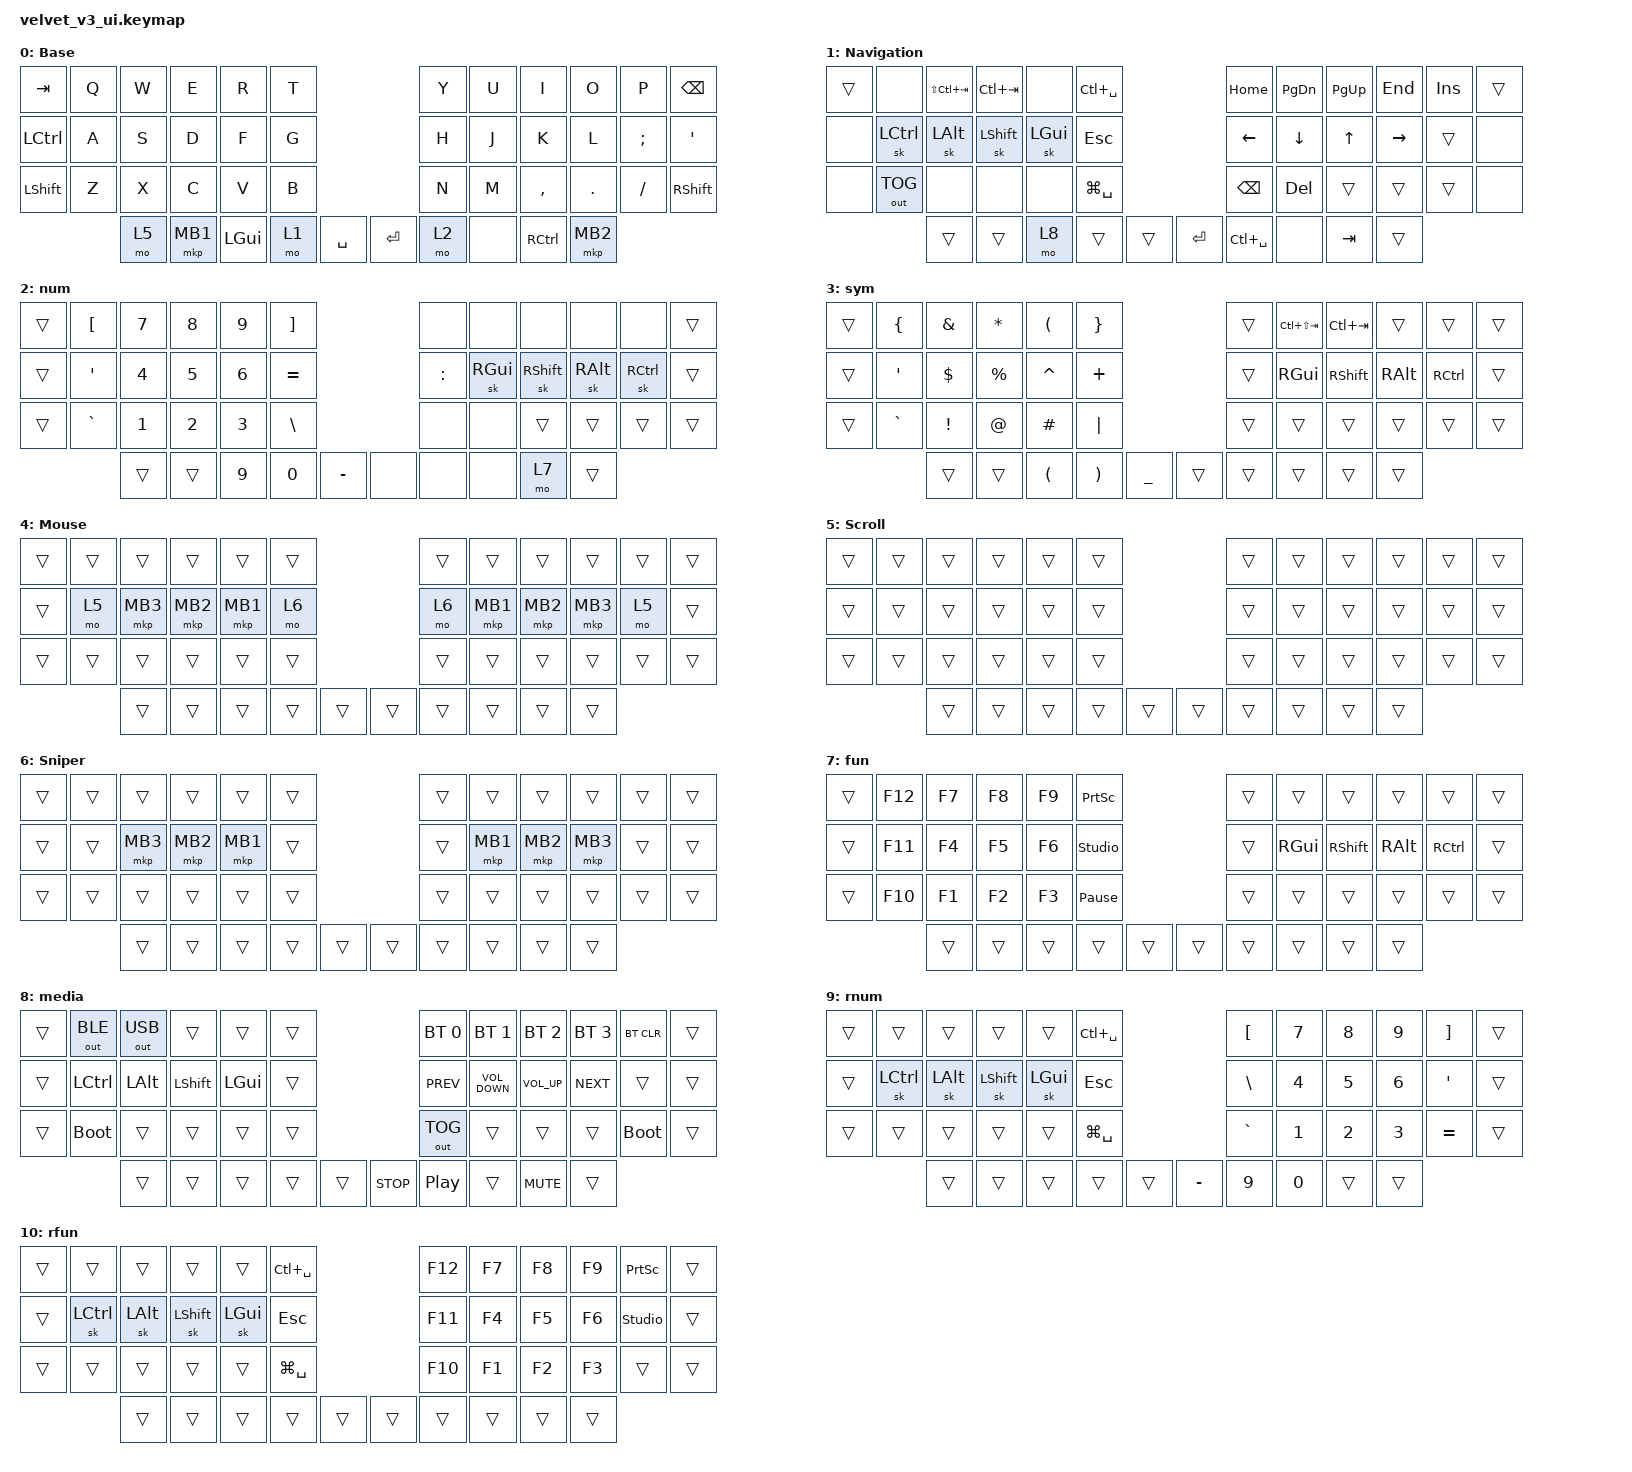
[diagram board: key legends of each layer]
#include "keys_ru.h"
#include <dt-bindings/zmk/input_transform.h>
#include <input/processors.dtsi>
#include <zephyr/dt-bindings/input/input-event-codes.h>
#include <behaviors.dtsi>
#include <dt-bindings/zmk/bt.h>
#include <dt-bindings/zmk/keys.h>
#include <dt-bindings/zmk/outputs.h>
#include <dt-bindings/zmk/pointing.h>

&lt {
    tapping-term-ms = <300>;
    flavor = "hold-preferred";
};

/ {
    behaviors {
        cap_sen: cap_sen {
            compatible = "zmk,behavior-hold-tap";
            label = "CAP_SEN";
            bindings = <&mo>, <&mkp>;

            #binding-cells = <2>;
            tapping-term-ms = <150>;
            hold-while-undecided;
        };

        ms_t: ms_t {
            compatible = "zmk,behavior-hold-tap";
            label = "Layer click";
            bindings = <&mo>, <&mkp>;

            #binding-cells = <2>;
            tapping-term-ms = <200>;
            flavor = "hold-preferred";
        };

        hml: hml {
            compatible = "zmk,behavior-hold-tap";
            label = "HML";
            bindings = <&kp>, <&kp>;

            #binding-cells = <2>;
            tapping-term-ms = <300>;
            quick-tap-ms = <175>;
            require-prior-idle-ms = <150>;
            flavor = "balanced";
            hold-trigger-on-release;
            hold-trigger-key-positions = <6 7 8 9 10 11 18 19 20 21 22 23 30 31 32 33 34 35 41 42 43 44 45>;
        };

        hmr: hmr {
            compatible = "zmk,behavior-hold-tap";
            label = "HMR";
            bindings = <&kp>, <&kp>;

            #binding-cells = <2>;
            tapping-term-ms = <300>;
            quick-tap-ms = <175>;
            require-prior-idle-ms = <150>;
            flavor = "balanced";
            hold-trigger-on-release;
            hold-trigger-key-positions = <0 1 2 3 4 5 12 13 14 15 16 17 24 25 26 27 28 29 36 37 38 39 40>;
        };
    };

    combos { compatible = "zmk,combos"; };

    macros {
        exit: exit {
            compatible = "zmk,behavior-macro";
            #binding-cells = <0>;
            bindings = <&kp K &kp I &kp L &kp L &kp SPACE &kp MINUS &kp N9 &kp SPACE &kp DLLR &kp DLLR>;
            label = "EXIT";
        };
    };

    keymap {
        compatible = "zmk,keymap";

        base {
            bindings = <
&kp TAB    &kp Q  &kp W  &kp E     &kp R     &kp T                          &kp Y  &kp U  &kp I      &kp O     &kp P     &kp BSPC
&kp LCTRL  &kp A  &kp S  &kp D     &kp F     &kp G                          &kp H  &kp J  &kp K      &kp L     &kp SEMI  &kp SQT
&kp LSHFT  &kp Z  &kp X  &kp C     &kp V     &kp B                          &kp N  &kp M  &kp COMMA  &kp DOT   &kp FSLH  &kp RSHFT
                  &mo 5  &mkp MB1  &kp LGUI  &mo 1  &kp SPACE    &kp ENTER  &mo 2  &none  &kp RCTRL  &mkp MB2
            >;

            display-name = "Base";
        };

        nav {
            bindings = <
&trans  &none         &kp LS(LC(TAB))  &kp LC(TAB)  &none     &kp LC(SPACE)                       &kp HOME       &kp PG_DN       &kp PG_UP  &kp END    &kp INS  &trans
&none   &sk LCTRL     &sk LALT         &sk LSHFT    &sk LGUI  &kp ESC                             &kp LEFT       &kp DOWN_ARROW  &kp UP     &kp RIGHT  &trans   &none
&none   &out OUT_TOG  &none            &none        &none     &kp LG(SPACE)                       &kp BACKSPACE  &kp DEL         &trans     &trans     &trans   &none
                      &trans           &trans       &mo 8     &trans         &trans    &kp ENTER  &kp LC(SPACE)  &none           &kp TAB    &trans
            >;

            display-name = "Navigation";
        };

        num {
            bindings = <
&trans  &kp LBKT   &kp N7  &kp N8  &kp N9  &kp RBKT                       &none      &none     &none      &none     &none      &trans
&trans  &kp SQT    &kp N4  &kp N5  &kp N6  &kp EQUAL                      &kp COLON  &sk RGUI  &sk RSHFT  &sk RALT  &sk RCTRL  &trans
&trans  &kp GRAVE  &kp N1  &kp N2  &kp N3  &kp BSLH                       &none      &none     &trans     &trans    &trans     &trans
                   &trans  &trans  &kp N9  &kp N0     &kp MINUS    &none  &none      &none     &mo 7      &trans
            >;
        };

        sym {
            bindings = <
&trans  &kp LEFT_BRACE  &kp AMPERSAND  &kp ASTRK    &kp LPAR   &kp RIGHT_BRACE                       &trans  &kp LC(LS(TAB))  &kp LC(TAB)  &trans    &trans     &trans
&trans  &kp SQT         &kp DOLLAR     &kp PRCNT    &kp CARET  &kp PLUS                              &trans  &kp RGUI         &kp RSHFT    &kp RALT  &kp RCTRL  &trans
&trans  &kp GRAVE       &kp EXCL       &kp AT_SIGN  &kp HASH   &kp PIPE                              &trans  &trans           &trans       &trans    &trans     &trans
                        &trans         &trans       &kp LPAR   &kp RPAR         &kp UNDER    &trans  &trans  &trans           &trans       &trans
            >;
        };

        mouse {
            bindings = <
&trans  &trans  &trans    &trans    &trans    &trans                    &trans  &trans    &trans    &trans    &trans  &trans
&trans  &mo 5   &mkp MB3  &mkp MB2  &mkp MB1  &mo 6                     &mo 6   &mkp MB1  &mkp MB2  &mkp MB3  &mo 5   &trans
&trans  &trans  &trans    &trans    &trans    &trans                    &trans  &trans    &trans    &trans    &trans  &trans
                &trans    &trans    &trans    &trans  &trans    &trans  &trans  &trans    &trans    &trans
            >;

            display-name = "Mouse";
        };

        scroll {
            bindings = <
&trans  &trans  &trans  &trans  &trans  &trans                    &trans  &trans  &trans  &trans  &trans  &trans
&trans  &trans  &trans  &trans  &trans  &trans                    &trans  &trans  &trans  &trans  &trans  &trans
&trans  &trans  &trans  &trans  &trans  &trans                    &trans  &trans  &trans  &trans  &trans  &trans
                &trans  &trans  &trans  &trans  &trans    &trans  &trans  &trans  &trans  &trans
            >;

            display-name = "Scroll";
        };

        sniper {
            bindings = <
&trans  &trans  &trans    &trans    &trans    &trans                    &trans  &trans    &trans    &trans    &trans  &trans
&trans  &trans  &mkp MB3  &mkp MB2  &mkp MB1  &trans                    &trans  &mkp MB1  &mkp MB2  &mkp MB3  &trans  &trans
&trans  &trans  &trans    &trans    &trans    &trans                    &trans  &trans    &trans    &trans    &trans  &trans
                &trans    &trans    &trans    &trans  &trans    &trans  &trans  &trans    &trans    &trans
            >;

            display-name = "Sniper";
        };

        fun {
            bindings = <
&trans  &kp F12  &kp F7  &kp F8  &kp F9  &kp PRINTSCREEN                    &trans  &trans    &trans     &trans    &trans     &trans
&trans  &kp F11  &kp F4  &kp F5  &kp F6  &studio_unlock                     &trans  &kp RGUI  &kp RSHFT  &kp RALT  &kp RCTRL  &trans
&trans  &kp F10  &kp F1  &kp F2  &kp F3  &kp PAUSE_BREAK                    &trans  &trans    &trans     &trans    &trans     &trans
                 &trans  &trans  &trans  &trans           &trans    &trans  &trans  &trans    &trans     &trans
            >;
        };

        media {
            bindings = <
&trans  &out OUT_BLE  &out OUT_USB  &trans     &trans    &trans                        &bt BT_SEL 0      &bt BT_SEL 1       &bt BT_SEL 2     &bt BT_SEL 3  &bt BT_CLR   &trans
&trans  &kp LCTRL     &kp LALT      &kp LSHFT  &kp LGUI  &trans                        &kp C_PREV        &kp C_VOLUME_DOWN  &kp C_VOLUME_UP  &kp C_NEXT    &trans       &trans
&trans  &bootloader   &trans        &trans     &trans    &trans                        &out OUT_TOG      &trans             &trans           &trans        &bootloader  &trans
                      &trans        &trans     &trans    &trans  &trans    &kp C_STOP  &kp C_PLAY_PAUSE  &trans             &kp C_MUTE       &trans
            >;
        };

        rnum {
            bindings = <
&trans  &trans     &trans    &trans     &trans    &kp LC(SPACE)                       &kp LBKT   &kp N7  &kp N8  &kp N9  &kp RBKT   &trans
&trans  &sk LCTRL  &sk LALT  &sk LSHFT  &sk LGUI  &kp ESC                             &kp BSLH   &kp N4  &kp N5  &kp N6  &kp SQT    &trans
&trans  &trans     &trans    &trans     &trans    &kp LG(SPACE)                       &kp GRAVE  &kp N1  &kp N2  &kp N3  &kp EQUAL  &trans
                   &trans    &trans     &trans    &trans         &trans    &kp MINUS  &kp N9     &kp N0  &trans  &trans
            >;
        };

        rfun {
            bindings = <
&trans  &trans     &trans    &trans     &trans    &kp LC(SPACE)                    &kp F12  &kp F7  &kp F8  &kp F9  &kp PRINTSCREEN  &trans
&trans  &sk LCTRL  &sk LALT  &sk LSHFT  &sk LGUI  &kp ESC                          &kp F11  &kp F4  &kp F5  &kp F6  &studio_unlock   &trans
&trans  &trans     &trans    &trans     &trans    &kp LG(SPACE)                    &kp F10  &kp F1  &kp F2  &kp F3  &trans           &trans
                   &trans    &trans     &trans    &trans         &trans    &trans  &trans   &trans  &trans  &trans
            >;
        };
    };
};

&trackball { cpi = <1000>; };

&trackball_listener {
    input-processors = <&zip_xy_scaler 9 20>;

    scroller {
        layers = <5>;
        input-processors =
            <&zip_xy_transform INPUT_TRANSFORM_Y_INVERT>,
            <&zip_xy_scaler 1 32>,
            <&zip_xy_to_scroll_mapper>;
    };

    sniper {
        layers = <6>;
        input-processors = <&zip_xy_scaler 1 4>;
    };
};
